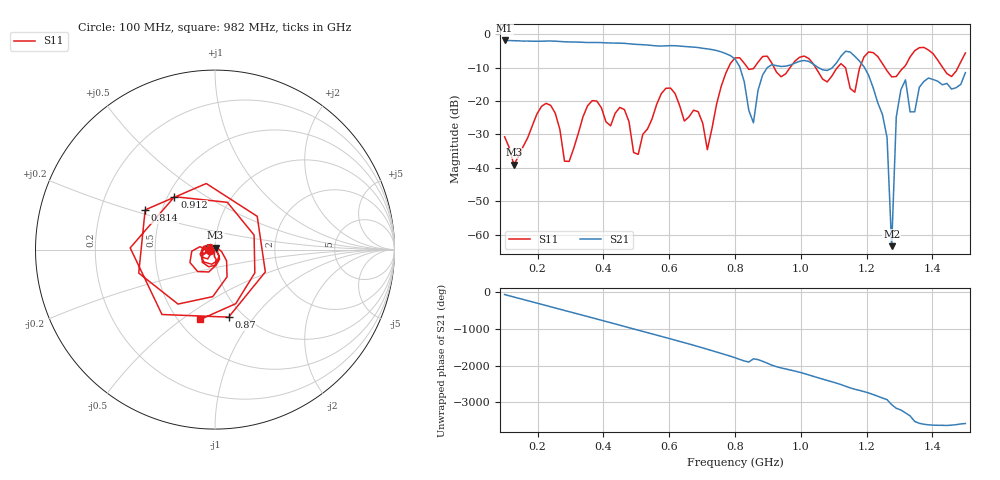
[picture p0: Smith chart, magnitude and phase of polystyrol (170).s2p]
! NanoVNA-App
! Date: 2025-09-25 15:31:13
! Start: 100MHz Stop: 1,5GHz Points: 101
! S-Parameter data: F S11 S21 S12 S22
# Hz S RI R 50
!  Frequency  S11_Real  S11_Imag  S21_Real  S21_Imag  S12_Real  S12_Imag  S22_Real  S22_Imag
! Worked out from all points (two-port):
!   101 points, 100 MHz to 1.5 GHz, reference 50 ohm
!   highest |S21| = -1.80 dB at 100 MHz (marker M1); lowest = -63.5 dB at 1.276 GHz (marker M2)
!   |S21| within 3 dB of the highest: start of sweep to 743 MHz
!   lowest |S11| = -39.1 dB at 128 MHz (marker M3), VSWR 1.02, Z = 50.3 + j1.07 ohm
!   |S11| at or under -10 dB: start of sweep to 779.8 MHz; 1.045 GHz to 1.111 GHz (65.33 MHz wide, 6.06 % of centre); 1.256 GHz to 1.311 GHz (55.35 MHz wide, 4.31 % of centre) (the widest 3 of 7)
!   S12 and S22 are empty: the file has one direction only
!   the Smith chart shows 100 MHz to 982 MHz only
!   S11 on the Smith chart (normalised r, x): 100 MHz: 0.94, -0.01; 814 MHz: 0.40, +0.22; 870 MHz: 0.86, -0.76; 912 MHz: 0.54, +0.37; 982 MHz: 0.64, -0.59
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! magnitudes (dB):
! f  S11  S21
! 100 MHz  -30.7  -1.8
! 128 MHz  -39.1  -1.9
! 212 MHz  -21.6  -2.0
! 282 MHz  -38.0  -2.2
! 338 MHz  -24.7  -2.4
! 506 MHz  -35.9  -3.0
! 576 MHz  -17.8  -3.5
! 716 MHz  -34.5  -4.3
! 800 MHz  -7.0  -7.4
! 814 MHz  -7.0  -9.6
! 856 MHz  -10.3  -26.5
! 870 MHz  -8.3  -16.7
! 912 MHz  -8.6  -9.0
! 982 MHz  -8.0  -8.6
! 1.038 GHz  -8.8  -8.9
! 1.164 GHz  -17.3  -6.5
! 1.206 GHz  -5.3  -12.3
! 1.262 GHz  -10.9  -30.9
! 1.276 GHz  -12.7  -63.5
! 1.29 GHz  -12.6  -24.7
! 1.304 GHz  -10.8  -16.6
! 1.5 GHz  -5.5  -11.5
